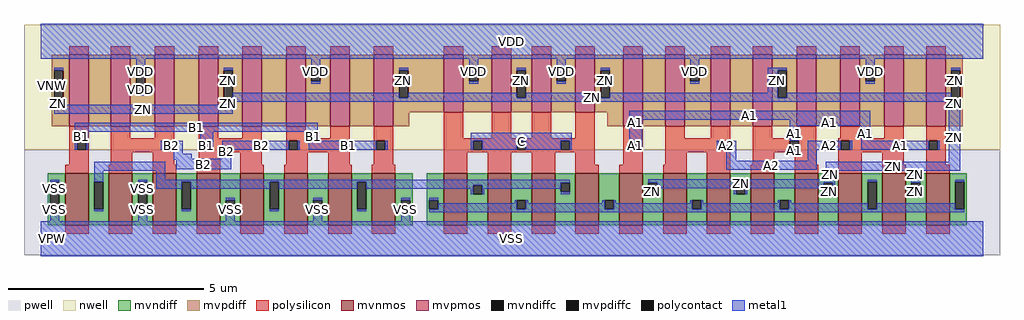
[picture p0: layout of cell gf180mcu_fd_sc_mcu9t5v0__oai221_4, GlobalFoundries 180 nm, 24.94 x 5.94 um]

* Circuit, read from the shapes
.subckt gf180mcu_fd_sc_mcu9t5v0__oai221_4 A1 A2 B1 B2 C ZN VDD VNW VPW VSS
XM1 n1 B1 VSS VPW nfet_06v0 w=1.32u l=0.6u m=4
XM2 VSS B2 n1 VPW nfet_06v0 w=1.32u l=0.6u m=4
XM3 n1 C n2 VPW nfet_06v0 w=1.32u l=0.6u m=4
XM4 ZN A1 n2 VPW nfet_06v0 w=1.32u l=0.6u m=4
XM5 n2 A2 ZN VPW nfet_06v0 w=1.32u l=0.6u m=4
XM6 n3 B1 ZN VNW pfet_06v0 w=1.83u l=0.5u
XM7 VDD B2 n3 VNW pfet_06v0 w=1.83u l=0.5u
XM8 n4 B2 VDD VNW pfet_06v0 w=1.83u l=0.5u
XM9 ZN B1 n4 VNW pfet_06v0 w=1.83u l=0.5u
XM10 n5 B1 ZN VNW pfet_06v0 w=1.83u l=0.5u
XM11 VDD B2 n5 VNW pfet_06v0 w=1.83u l=0.5u
XM12 n6 B2 VDD VNW pfet_06v0 w=1.83u l=0.5u
XM13 ZN B1 n6 VNW pfet_06v0 w=1.83u l=0.5u
XM14 VDD C ZN VNW pfet_06v0 w=1.46u l=0.5u m=4
XM15 n7 A1 ZN VNW pfet_06v0 w=1.83u l=0.5u
XM16 VDD A2 n7 VNW pfet_06v0 w=1.83u l=0.5u
XM17 n8 A2 VDD VNW pfet_06v0 w=1.83u l=0.5u
XM18 ZN A1 n8 VNW pfet_06v0 w=1.83u l=0.5u
XM19 n9 A1 ZN VNW pfet_06v0 w=1.83u l=0.5u
XM20 VDD A2 n9 VNW pfet_06v0 w=1.83u l=0.5u
XM21 n10 A2 VDD VNW pfet_06v0 w=1.83u l=0.5u
XM22 ZN A1 n10 VNW pfet_06v0 w=1.83u l=0.5u
.ends

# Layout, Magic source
magic
tech gf180mcuD
magscale 1 10
<< nwell >>
rect -86 453 4902 1094
<< pwell >>
rect -86 -86 4902 453
<< mvnmos >>
rect 124 69 244 333
rect 348 69 468 333
rect 572 69 692 333
rect 796 69 916 333
rect 1020 69 1140 333
rect 1244 69 1364 333
rect 1468 69 1588 333
rect 1692 69 1812 333
rect 2060 69 2180 333
rect 2284 69 2404 333
rect 2508 69 2628 333
rect 2732 69 2852 333
rect 2956 69 3076 333
rect 3180 69 3300 333
rect 3404 69 3524 333
rect 3628 69 3748 333
rect 3852 69 3972 333
rect 4076 69 4196 333
rect 4300 69 4420 333
rect 4524 69 4644 333
<< mvpmos >>
rect 144 573 244 939
rect 358 573 458 939
rect 582 573 682 939
rect 806 573 906 939
rect 1030 573 1130 939
rect 1254 573 1354 939
rect 1478 573 1578 939
rect 1702 573 1802 939
rect 2060 647 2160 939
rect 2304 647 2404 939
rect 2508 647 2608 939
rect 2732 647 2832 939
rect 2976 573 3076 939
rect 3190 573 3290 939
rect 3424 573 3524 939
rect 3638 573 3738 939
rect 3862 573 3962 939
rect 4086 573 4186 939
rect 4310 573 4410 939
rect 4524 573 4624 939
<< mvndiff >>
rect 36 291 124 333
rect 36 151 49 291
rect 95 151 124 291
rect 36 69 124 151
rect 244 291 348 333
rect 244 151 273 291
rect 319 151 348 291
rect 244 69 348 151
rect 468 291 572 333
rect 468 151 497 291
rect 543 151 572 291
rect 468 69 572 151
rect 692 291 796 333
rect 692 151 721 291
rect 767 151 796 291
rect 692 69 796 151
rect 916 197 1020 333
rect 916 151 945 197
rect 991 151 1020 197
rect 916 69 1020 151
rect 1140 291 1244 333
rect 1140 151 1169 291
rect 1215 151 1244 291
rect 1140 69 1244 151
rect 1364 197 1468 333
rect 1364 151 1393 197
rect 1439 151 1468 197
rect 1364 69 1468 151
rect 1588 291 1692 333
rect 1588 151 1617 291
rect 1663 151 1692 291
rect 1588 69 1692 151
rect 1812 197 1900 333
rect 1812 151 1841 197
rect 1887 151 1900 197
rect 1812 69 1900 151
rect 1972 197 2060 333
rect 1972 151 1985 197
rect 2031 151 2060 197
rect 1972 69 2060 151
rect 2180 274 2284 333
rect 2180 228 2209 274
rect 2255 228 2284 274
rect 2180 69 2284 228
rect 2404 197 2508 333
rect 2404 151 2433 197
rect 2479 151 2508 197
rect 2404 69 2508 151
rect 2628 285 2732 333
rect 2628 239 2657 285
rect 2703 239 2732 285
rect 2628 69 2732 239
rect 2852 197 2956 333
rect 2852 151 2881 197
rect 2927 151 2956 197
rect 2852 69 2956 151
rect 3076 285 3180 333
rect 3076 239 3105 285
rect 3151 239 3180 285
rect 3076 69 3180 239
rect 3300 197 3404 333
rect 3300 151 3329 197
rect 3375 151 3404 197
rect 3300 69 3404 151
rect 3524 274 3628 333
rect 3524 228 3553 274
rect 3599 228 3628 274
rect 3524 69 3628 228
rect 3748 197 3852 333
rect 3748 151 3777 197
rect 3823 151 3852 197
rect 3748 69 3852 151
rect 3972 285 4076 333
rect 3972 239 4001 285
rect 4047 239 4076 285
rect 3972 69 4076 239
rect 4196 291 4300 333
rect 4196 151 4225 291
rect 4271 151 4300 291
rect 4196 69 4300 151
rect 4420 285 4524 333
rect 4420 239 4449 285
rect 4495 239 4524 285
rect 4420 69 4524 239
rect 4644 291 4732 333
rect 4644 151 4673 291
rect 4719 151 4732 291
rect 4644 69 4732 151
<< mvpdiff >>
rect 56 861 144 939
rect 56 721 69 861
rect 115 721 144 861
rect 56 573 144 721
rect 244 573 358 939
rect 458 881 582 939
rect 458 741 487 881
rect 533 741 582 881
rect 458 573 582 741
rect 682 573 806 939
rect 906 861 1030 939
rect 906 721 935 861
rect 981 721 1030 861
rect 906 573 1030 721
rect 1130 573 1254 939
rect 1354 849 1478 939
rect 1354 803 1383 849
rect 1429 803 1478 849
rect 1354 573 1478 803
rect 1578 573 1702 939
rect 1802 861 2060 939
rect 1802 721 1831 861
rect 1877 721 2060 861
rect 1802 647 2060 721
rect 2160 849 2304 939
rect 2160 803 2189 849
rect 2235 803 2304 849
rect 2160 647 2304 803
rect 2404 861 2508 939
rect 2404 721 2433 861
rect 2479 721 2508 861
rect 2404 647 2508 721
rect 2608 849 2732 939
rect 2608 803 2637 849
rect 2683 803 2732 849
rect 2608 647 2732 803
rect 2832 861 2976 939
rect 2832 721 2861 861
rect 2907 721 2976 861
rect 2832 647 2976 721
rect 1802 573 1882 647
rect 2896 573 2976 647
rect 3076 573 3190 939
rect 3290 849 3424 939
rect 3290 803 3319 849
rect 3365 803 3424 849
rect 3290 573 3424 803
rect 3524 573 3638 939
rect 3738 861 3862 939
rect 3738 721 3767 861
rect 3813 721 3862 861
rect 3738 573 3862 721
rect 3962 573 4086 939
rect 4186 849 4310 939
rect 4186 803 4215 849
rect 4261 803 4310 849
rect 4186 573 4310 803
rect 4410 573 4524 939
rect 4624 861 4712 939
rect 4624 721 4653 861
rect 4699 721 4712 861
rect 4624 573 4712 721
<< mvndiffc >>
rect 49 151 95 291
rect 273 151 319 291
rect 497 151 543 291
rect 721 151 767 291
rect 945 151 991 197
rect 1169 151 1215 291
rect 1393 151 1439 197
rect 1617 151 1663 291
rect 1841 151 1887 197
rect 1985 151 2031 197
rect 2209 228 2255 274
rect 2433 151 2479 197
rect 2657 239 2703 285
rect 2881 151 2927 197
rect 3105 239 3151 285
rect 3329 151 3375 197
rect 3553 228 3599 274
rect 3777 151 3823 197
rect 4001 239 4047 285
rect 4225 151 4271 291
rect 4449 239 4495 285
rect 4673 151 4719 291
<< mvpdiffc >>
rect 69 721 115 861
rect 487 741 533 881
rect 935 721 981 861
rect 1383 803 1429 849
rect 1831 721 1877 861
rect 2189 803 2235 849
rect 2433 721 2479 861
rect 2637 803 2683 849
rect 2861 721 2907 861
rect 3319 803 3365 849
rect 3767 721 3813 861
rect 4215 803 4261 849
rect 4653 721 4699 861
<< polysilicon >>
rect 144 939 244 983
rect 358 939 458 983
rect 582 939 682 983
rect 806 939 906 983
rect 1030 939 1130 983
rect 1254 939 1354 983
rect 1478 939 1578 983
rect 1702 939 1802 983
rect 2060 939 2160 983
rect 2304 939 2404 983
rect 2508 939 2608 983
rect 2732 939 2832 983
rect 2976 939 3076 983
rect 3190 939 3290 983
rect 3424 939 3524 983
rect 3638 939 3738 983
rect 3862 939 3962 983
rect 4086 939 4186 983
rect 4310 939 4410 983
rect 4524 939 4624 983
rect 144 500 244 573
rect 144 454 185 500
rect 231 454 244 500
rect 144 377 244 454
rect 358 513 458 573
rect 582 513 682 573
rect 358 500 682 513
rect 358 454 623 500
rect 669 454 682 500
rect 358 441 682 454
rect 358 377 468 441
rect 124 333 244 377
rect 348 333 468 377
rect 572 377 682 441
rect 806 513 906 573
rect 1030 513 1130 573
rect 806 500 1130 513
rect 806 454 825 500
rect 871 454 1130 500
rect 806 441 1130 454
rect 806 377 916 441
rect 572 333 692 377
rect 796 333 916 377
rect 1020 377 1130 441
rect 1254 513 1354 573
rect 1478 513 1578 573
rect 1254 500 1578 513
rect 1254 454 1267 500
rect 1313 454 1578 500
rect 1254 441 1578 454
rect 1254 377 1364 441
rect 1020 333 1140 377
rect 1244 333 1364 377
rect 1468 377 1578 441
rect 1702 500 1802 573
rect 1702 454 1715 500
rect 1761 454 1802 500
rect 1702 377 1802 454
rect 2060 513 2160 647
rect 2304 513 2404 647
rect 2508 513 2608 647
rect 2732 513 2832 647
rect 2060 500 2832 513
rect 2060 454 2209 500
rect 2255 454 2433 500
rect 2479 454 2657 500
rect 2703 454 2832 500
rect 2060 441 2832 454
rect 1468 333 1588 377
rect 1692 333 1812 377
rect 2060 333 2180 441
rect 2284 333 2404 441
rect 2508 333 2628 441
rect 2732 377 2832 441
rect 2976 500 3076 573
rect 2976 454 3017 500
rect 3063 454 3076 500
rect 2976 377 3076 454
rect 3190 513 3290 573
rect 3424 513 3524 573
rect 3190 500 3524 513
rect 3190 454 3465 500
rect 3511 454 3524 500
rect 3190 441 3524 454
rect 3190 377 3300 441
rect 2732 333 2852 377
rect 2956 333 3076 377
rect 3180 333 3300 377
rect 3404 333 3524 441
rect 3638 513 3738 573
rect 3862 513 3962 573
rect 4086 513 4186 573
rect 4310 513 4410 573
rect 3638 500 3962 513
rect 3638 454 3828 500
rect 3874 454 3962 500
rect 3638 441 3962 454
rect 3638 377 3748 441
rect 3628 333 3748 377
rect 3852 377 3962 441
rect 4076 500 4410 513
rect 4076 454 4089 500
rect 4135 454 4410 500
rect 4076 441 4410 454
rect 3852 333 3972 377
rect 4076 333 4196 441
rect 4300 377 4410 441
rect 4524 500 4624 573
rect 4524 454 4537 500
rect 4583 454 4624 500
rect 4524 377 4624 454
rect 4300 333 4420 377
rect 4524 333 4644 377
rect 124 25 244 69
rect 348 25 468 69
rect 572 25 692 69
rect 796 25 916 69
rect 1020 25 1140 69
rect 1244 25 1364 69
rect 1468 25 1588 69
rect 1692 25 1812 69
rect 2060 25 2180 69
rect 2284 25 2404 69
rect 2508 25 2628 69
rect 2732 25 2852 69
rect 2956 25 3076 69
rect 3180 25 3300 69
rect 3404 25 3524 69
rect 3628 25 3748 69
rect 3852 25 3972 69
rect 4076 25 4196 69
rect 4300 25 4420 69
rect 4524 25 4644 69
<< polycontact >>
rect 185 454 231 500
rect 623 454 669 500
rect 825 454 871 500
rect 1267 454 1313 500
rect 1715 454 1761 500
rect 2209 454 2255 500
rect 2433 454 2479 500
rect 2657 454 2703 500
rect 3017 454 3063 500
rect 3465 454 3511 500
rect 3828 454 3874 500
rect 4089 454 4135 500
rect 4537 454 4583 500
<< metal1 >>
rect 0 918 4816 1098
rect 487 881 533 918
rect 69 861 115 872
rect 487 730 533 741
rect 935 861 981 872
rect 69 684 115 721
rect 1383 849 1429 918
rect 1383 792 1429 803
rect 1831 861 1877 872
rect 981 721 1831 746
rect 2189 849 2235 918
rect 2189 792 2235 803
rect 2433 861 2479 872
rect 1877 721 2433 746
rect 2637 849 2683 918
rect 2637 792 2683 803
rect 2861 861 2907 872
rect 2479 721 2861 746
rect 3319 849 3365 918
rect 3319 792 3365 803
rect 3714 861 3813 872
rect 3714 746 3767 861
rect 2907 721 3767 746
rect 4215 849 4261 918
rect 4215 792 4261 803
rect 4653 861 4699 872
rect 3813 721 4653 746
rect 935 700 4699 721
rect 935 684 981 700
rect 69 638 981 684
rect 3006 608 4238 654
rect 174 546 1416 592
rect 174 500 242 546
rect 814 500 882 546
rect 1370 500 1416 546
rect 2198 500 2714 542
rect 174 454 185 500
rect 231 454 242 500
rect 612 454 623 500
rect 669 454 726 500
rect 814 454 825 500
rect 871 454 882 500
rect 928 454 1267 500
rect 1313 454 1324 500
rect 1370 454 1715 500
rect 1761 454 1772 500
rect 2198 454 2209 500
rect 2255 454 2433 500
rect 2479 454 2657 500
rect 2703 454 2714 500
rect 3006 500 3074 608
rect 3828 578 4238 608
rect 3828 500 3874 578
rect 4192 500 4238 578
rect 3006 454 3017 500
rect 3063 454 3074 500
rect 3454 454 3465 500
rect 3511 454 3554 500
rect 680 435 726 454
rect 680 408 772 435
rect 928 408 974 454
rect 680 404 974 408
rect 273 348 635 394
rect 692 354 974 404
rect 3502 397 3554 454
rect 3828 443 3874 454
rect 3920 454 4089 500
rect 4135 454 4146 500
rect 4192 454 4537 500
rect 4583 454 4594 500
rect 3920 397 3966 454
rect 3502 351 3966 397
rect 4640 394 4699 700
rect 49 291 95 302
rect 49 90 95 151
rect 273 291 319 348
rect 589 302 635 348
rect 4012 348 4699 394
rect 4012 304 4058 348
rect 273 140 319 151
rect 497 291 543 302
rect 589 291 2703 302
rect 589 256 721 291
rect 497 90 543 151
rect 767 256 1169 291
rect 721 140 767 151
rect 945 197 991 208
rect 945 90 991 151
rect 1215 256 1617 291
rect 1169 140 1215 151
rect 1393 197 1439 208
rect 1393 90 1439 151
rect 1663 285 2703 291
rect 1663 274 2657 285
rect 1663 256 2209 274
rect 2198 228 2209 256
rect 2255 256 2657 274
rect 2255 228 2266 256
rect 2657 228 2703 239
rect 3105 285 4058 304
rect 3151 274 4001 285
rect 3151 258 3553 274
rect 3105 228 3151 239
rect 3542 228 3553 258
rect 3599 258 4001 274
rect 3599 228 3610 258
rect 4047 239 4058 285
rect 4001 228 4058 239
rect 4225 291 4271 302
rect 1617 140 1663 151
rect 1841 197 1887 208
rect 1841 90 1887 151
rect 1985 197 2031 208
rect 2422 182 2433 197
rect 2031 151 2433 182
rect 2479 182 2490 197
rect 2870 182 2881 197
rect 2479 151 2881 182
rect 2927 182 2938 197
rect 3318 182 3329 197
rect 2927 151 3329 182
rect 3375 182 3386 197
rect 3766 182 3777 197
rect 3375 151 3777 182
rect 3823 182 3834 197
rect 3823 151 4225 182
rect 4449 285 4495 348
rect 4449 228 4495 239
rect 4673 291 4719 302
rect 4271 151 4673 182
rect 1985 136 4719 151
rect 0 -90 4816 90
<< labels >>
flabel metal1 s 3006 608 4238 654 0 FreeSans 200 0 0 0 A1
port 1 nsew default input
flabel metal1 s 3920 454 4146 500 0 FreeSans 200 0 0 0 A2
port 2 nsew default input
flabel metal1 s 174 546 1416 592 0 FreeSans 200 0 0 0 B1
port 3 nsew default input
flabel metal1 s 928 454 1324 500 0 FreeSans 200 0 0 0 B2
port 4 nsew default input
flabel metal1 s 2198 454 2714 542 0 FreeSans 200 0 0 0 C
port 5 nsew default input
flabel metal1 s 0 918 4816 1098 0 FreeSans 200 0 0 0 VDD
port 7 nsew power bidirectional abutment
flabel metal1 s 497 208 543 302 0 FreeSans 200 0 0 0 VSS
port 10 nsew ground bidirectional abutment
flabel metal1 s 4653 746 4699 872 0 FreeSans 200 0 0 0 ZN
port 6 nsew default output
flabel nwell s 10 734 110 834 0 FreeSans 400 0 0 0 VNW
port 8 nsew power bidirectional
flabel pwell s 10 -50 110 50 0 FreeSans 400 0 0 0 VPW
port 9 nsew ground bidirectional
rlabel metal1 s 3828 578 4238 608 1 A1
port 1 nsew default input
rlabel metal1 s 3006 578 3074 608 1 A1
port 1 nsew default input
rlabel metal1 s 4192 500 4238 578 1 A1
port 1 nsew default input
rlabel metal1 s 3828 500 3874 578 1 A1
port 1 nsew default input
rlabel metal1 s 3006 500 3074 578 1 A1
port 1 nsew default input
rlabel metal1 s 4192 454 4594 500 1 A1
port 1 nsew default input
rlabel metal1 s 3828 454 3874 500 1 A1
port 1 nsew default input
rlabel metal1 s 3006 454 3074 500 1 A1
port 1 nsew default input
rlabel metal1 s 3828 443 3874 454 1 A1
port 1 nsew default input
rlabel metal1 s 3454 454 3554 500 1 A2
port 2 nsew default input
rlabel metal1 s 3920 397 3966 454 1 A2
port 2 nsew default input
rlabel metal1 s 3502 397 3554 454 1 A2
port 2 nsew default input
rlabel metal1 s 3502 351 3966 397 1 A2
port 2 nsew default input
rlabel metal1 s 1370 500 1416 546 1 B1
port 3 nsew default input
rlabel metal1 s 814 500 882 546 1 B1
port 3 nsew default input
rlabel metal1 s 174 500 242 546 1 B1
port 3 nsew default input
rlabel metal1 s 1370 454 1772 500 1 B1
port 3 nsew default input
rlabel metal1 s 814 454 882 500 1 B1
port 3 nsew default input
rlabel metal1 s 174 454 242 500 1 B1
port 3 nsew default input
rlabel metal1 s 612 454 726 500 1 B2
port 4 nsew default input
rlabel metal1 s 928 435 974 454 1 B2
port 4 nsew default input
rlabel metal1 s 680 435 726 454 1 B2
port 4 nsew default input
rlabel metal1 s 928 408 974 435 1 B2
port 4 nsew default input
rlabel metal1 s 680 408 772 435 1 B2
port 4 nsew default input
rlabel metal1 s 680 404 974 408 1 B2
port 4 nsew default input
rlabel metal1 s 692 354 974 404 1 B2
port 4 nsew default input
rlabel metal1 s 3714 746 3813 872 1 ZN
port 6 nsew default output
rlabel metal1 s 2861 746 2907 872 1 ZN
port 6 nsew default output
rlabel metal1 s 2433 746 2479 872 1 ZN
port 6 nsew default output
rlabel metal1 s 1831 746 1877 872 1 ZN
port 6 nsew default output
rlabel metal1 s 935 746 981 872 1 ZN
port 6 nsew default output
rlabel metal1 s 69 746 115 872 1 ZN
port 6 nsew default output
rlabel metal1 s 935 700 4699 746 1 ZN
port 6 nsew default output
rlabel metal1 s 69 700 115 746 1 ZN
port 6 nsew default output
rlabel metal1 s 4640 684 4699 700 1 ZN
port 6 nsew default output
rlabel metal1 s 935 684 981 700 1 ZN
port 6 nsew default output
rlabel metal1 s 69 684 115 700 1 ZN
port 6 nsew default output
rlabel metal1 s 4640 638 4699 684 1 ZN
port 6 nsew default output
rlabel metal1 s 69 638 981 684 1 ZN
port 6 nsew default output
rlabel metal1 s 4640 394 4699 638 1 ZN
port 6 nsew default output
rlabel metal1 s 4012 348 4699 394 1 ZN
port 6 nsew default output
rlabel metal1 s 4449 304 4495 348 1 ZN
port 6 nsew default output
rlabel metal1 s 4012 304 4058 348 1 ZN
port 6 nsew default output
rlabel metal1 s 4449 258 4495 304 1 ZN
port 6 nsew default output
rlabel metal1 s 3105 258 4058 304 1 ZN
port 6 nsew default output
rlabel metal1 s 4449 228 4495 258 1 ZN
port 6 nsew default output
rlabel metal1 s 4001 228 4058 258 1 ZN
port 6 nsew default output
rlabel metal1 s 3542 228 3610 258 1 ZN
port 6 nsew default output
rlabel metal1 s 3105 228 3151 258 1 ZN
port 6 nsew default output
rlabel metal1 s 4215 792 4261 918 1 VDD
port 7 nsew power bidirectional abutment
rlabel metal1 s 3319 792 3365 918 1 VDD
port 7 nsew power bidirectional abutment
rlabel metal1 s 2637 792 2683 918 1 VDD
port 7 nsew power bidirectional abutment
rlabel metal1 s 2189 792 2235 918 1 VDD
port 7 nsew power bidirectional abutment
rlabel metal1 s 1383 792 1429 918 1 VDD
port 7 nsew power bidirectional abutment
rlabel metal1 s 487 792 533 918 1 VDD
port 7 nsew power bidirectional abutment
rlabel metal1 s 487 730 533 792 1 VDD
port 7 nsew power bidirectional abutment
rlabel metal1 s 49 208 95 302 1 VSS
port 10 nsew ground bidirectional abutment
rlabel metal1 s 1841 90 1887 208 1 VSS
port 10 nsew ground bidirectional abutment
rlabel metal1 s 1393 90 1439 208 1 VSS
port 10 nsew ground bidirectional abutment
rlabel metal1 s 945 90 991 208 1 VSS
port 10 nsew ground bidirectional abutment
rlabel metal1 s 497 90 543 208 1 VSS
port 10 nsew ground bidirectional abutment
rlabel metal1 s 49 90 95 208 1 VSS
port 10 nsew ground bidirectional abutment
rlabel metal1 s 0 -90 4816 90 1 VSS
port 10 nsew ground bidirectional abutment
<< properties >>
string FIXED_BBOX 0 0 4816 1008
string GDS_END 240406
string GDS_FILE $PDKPATH/libs.ref/gf180mcu_fd_sc_mcu9t5v0/gds/gf180mcu_fd_sc_mcu9t5v0.gds
string GDS_START 231064
string LEFclass core
string LEFsite GF018hv5v_green_sc9
string LEFsymmetry X Y
<< end >>
